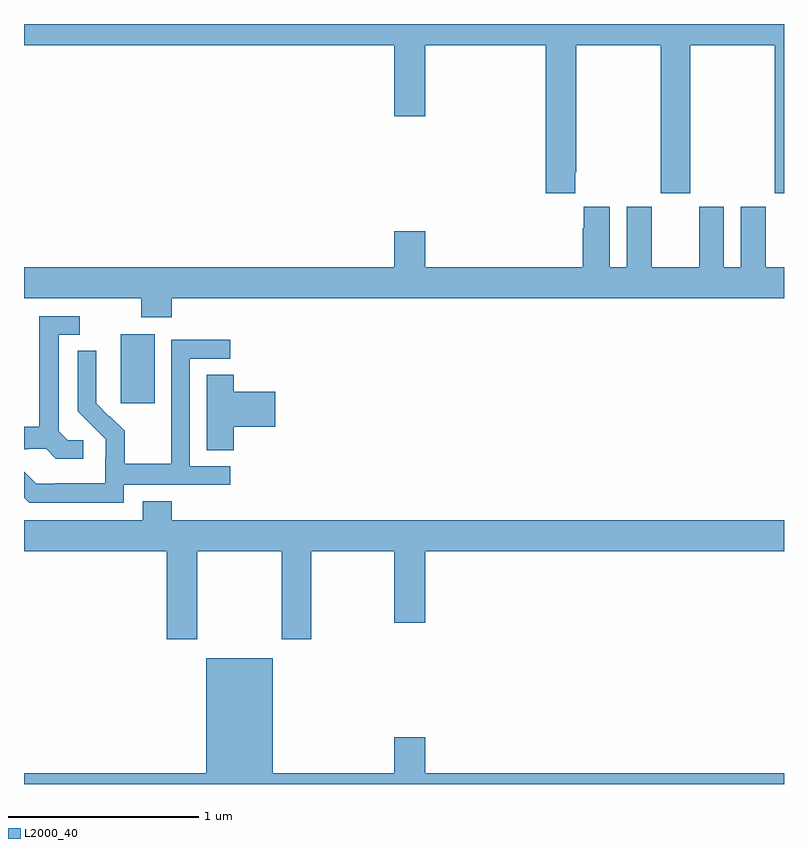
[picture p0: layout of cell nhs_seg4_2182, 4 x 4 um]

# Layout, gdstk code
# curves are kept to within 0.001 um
import gdstk
lib = gdstk.Library(unit=1e-6, precision=1e-09)
def R(c, l, rs):  # rectangles x0, y0, x1, y1
    for r in rs: c.add(gdstk.rectangle(r[:2], r[2:], *l))
def P(c, l, *ps):  # polygons
    for p in ps: c.add(gdstk.Polygon(p, *l))
L2000_40 = (2000, 40)

nhs_seg4_2182 = lib.new_cell('nhs_seg4_2182')
R(nhs_seg4_2182, L2000_40, [(223.508,826.905,223.687,827.266)])
P(nhs_seg4_2182, L2000_40, [(226.951,828.009),(227,828.009),(227,828.9),(223,828.9),(223,828.788),(224.948,828.788),(224.948,828.414),(225.112,828.414),(225.112,828.788),(225.746,828.788),(225.746,828.009),(225.901,828.009),(225.901,828.121),(225.906,828.121),(225.906,828.788),(226.351,828.788),(226.351,828.009),(226.506,828.009),(226.506,828.788),(226.951,828.788)],
  [(223.778,827.456),(227,827.456),(227,827.62),(226.903,827.62),(226.903,827.938),(226.772,827.938),(226.772,827.62),(226.684,827.62),(226.684,827.938),(226.553,827.938),(226.553,827.62),(226.303,827.62),(226.303,827.938),(226.172,827.938),(226.172,827.62),(226.084,827.62),(226.084,827.938),(225.947,827.938),(225.947,827.825),(225.941,827.825),(225.941,827.62),(225.112,827.62),(225.112,827.809),(224.948,827.809),(224.948,827.62),(223,827.62),(223,827.456),(223.618,827.456),(223.618,827.357),(223.778,827.357)],
  [(223.312,826.71),(223.23,826.71),(223.183,826.757),(223.183,827.265),(223.294,827.265),(223.294,827.361),(223.079,827.361),(223.079,826.781),(223,826.781),(223,826.662),(223.022,826.662),(223.022,826.665),(223.116,826.665),(223.168,826.613),(223.312,826.613)],
  [(223.524,826.476),(224.086,826.476),(224.086,826.572),(223.872,826.572),(223.872,827.139),(224.086,827.139),(224.086,827.238),(223.776,827.238),(223.776,826.808),(223.774,826.808),(223.774,826.585),(223.529,826.585),(223.529,826.759),(223.452,826.836),(223.449,826.833),(223.379,826.904),(223.38,827.18),(223.284,827.18),(223.284,826.862),(223.43,826.714),(223.43,826.617),(223.428,826.617),(223.428,826.483),(223.165,826.483),(223.165,826.479),(223.065,826.479),(223,826.544),(223,826.406),(223.027,826.379),(223.524,826.379)],
  [(224.105,826.781),(224.323,826.781),(224.323,826.964),(224.105,826.964),(224.105,827.054),(223.961,827.054),(223.961,826.657),(224.105,826.657)],
  [(223.911,826.124),(224.356,826.124),(224.356,825.663),(224.511,825.663),(224.511,826.124),(224.948,826.124),(224.948,825.75),(225.112,825.75),(225.112,826.124),(227,826.124),(227,826.288),(223.778,826.288),(223.778,826.387),(223.625,826.387),(223.625,826.288),(223,826.288),(223,826.124),(223.751,826.124),(223.751,825.663),(223.911,825.663)],
  [(227,824.956),(225.112,824.956),(225.112,825.145),(224.948,825.145),(224.948,824.956),(224.308,824.956),(224.308,825.562),(223.958,825.562),(223.958,824.956),(223,824.956),(223,824.9),(227,824.9)])

lib.write_gds('nhs_seg4_2182.gds')
